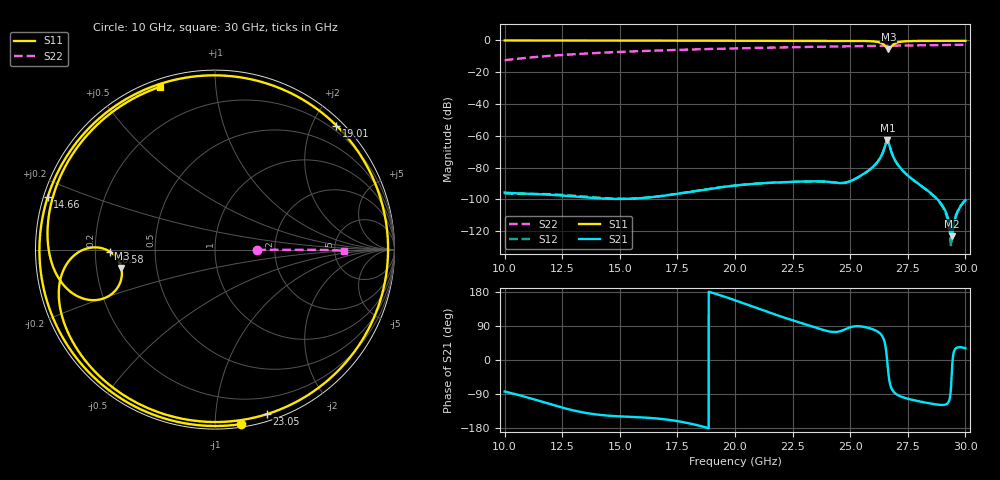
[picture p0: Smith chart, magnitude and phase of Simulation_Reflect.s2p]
! TOUCHSTONE file generated by CST MICROWAVE STUDIO
! Date and time: Wed Oct 17 00:53:23 2018
! Project name: 16 - Reflect.cst
! Parameters = {Copper_W=0.017; Ex=0.6; G=0.15; GCPW_U_1_End=1; GCPW_U_2_End=3.76702; GCPW_U_3_End=6.53404; GCPW_Ucentre=6.53404; GCPW_VCentre=7.5; GCPW_V_1_End=7.5; GCPW_V_2_End=0.347476; GCPW_V_3_End=0.347476; GCPW_Via_R=0.15; GCPW_Via_U=6.23404; GCPW_Via_V=7.2; GCPW_Via_Wmax=0.017; GCPW_Via_Wmin=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
! Header version: 2015
! Port assignment regex: !\s*Touchstone port\s*([0-9]+)\s*=\s*CST MWS port\s*([0-9]+)\s*\(\"(.*)\"\)(\s*mode\s*([0-9]+))?.*
! Touchstone port assignment:
! Touchstone port 1 = CST MWS port 1 ("")
! Touchstone port 2 = CST MWS port 2 ("")
# GHz S RI R 50
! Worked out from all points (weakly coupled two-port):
!   5001 points, 10 GHz to 30 GHz, reference 50 ohm
!   highest |S21| = -62.85 dB at 26.61 GHz (marker M1); lowest = -123.1 dB at 29.4 GHz (marker M2)
!   lowest |S11| = -5.5 dB at 26.66 GHz (marker M3), VSWR 3.27, Z = 15.4 - j4.44 ohm
!   |S11| at or under -10 dB: nowhere
!   |S22| runs from -12.6 to -2.9 dB; largest |S21 - S12| = 1.3e-05
!   S11 on the Smith chart (normalised r, x): 10 GHz: 0.02, -1.16; 14.66 GHz: 0.01, +0.15; 19.01 GHz: 0.11, +2.37; 23.05 GHz: 0.06, -1.36; 26.58 GHz: 0.26, -0.01; 30 GHz: 0.03, +0.72
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10  0.1442 -0.9725  1.91e-06 -1.63e-05  2.48e-06 -1.47e-05  0.2354 -0.000383
11.54  -0.491 -0.8497  -4.63e-06 -1.37e-05  -4.86e-06 -1.41e-05  0.3054 -0.00045
13.336  -0.9434 -0.2618  -8.75e-06 -8.01e-06  -9.48e-06 -8.24e-06  0.374 -0.00055
14.656  -0.9318 0.294  -8.78e-06 -5.58e-06  -9.24e-06 -5.38e-06  0.4179 -0.000646
16.668  -0.3388 0.9119  -1.12e-05 -5.29e-06  -1.12e-05 -5.42e-06  0.4757 -0.000842
17.836  0.1903 0.951  -1.57e-05 -4.21e-06  -1.6e-05 -4.39e-06  0.5057 -0.000991
19.012  0.6767 0.691  -2.2e-05 1.03e-06  -2.22e-05 1.13e-06  0.533 -0.00118
20  0.923 0.2827  -2.52e-05 1.04e-05  -2.52e-05 1.04e-05  0.5541 -0.00137
21.416  0.876 -0.4003  -1.97e-05 2.64e-05  -1.99e-05 2.61e-05  0.5832 -0.0017
23.052  0.2905 -0.9164  -2.61e-06 3.66e-05  -2.84e-06 3.65e-05  0.6133 -0.00219
23.336  0.1565 -0.9482  9.21e-07 3.7e-05  6.62e-07 3.68e-05  0.6183 -0.00229
24.64  -0.4518 -0.8448  7.04e-06 3.17e-05  6.39e-06 3.23e-05  0.6405 -0.00281
25.928  -0.8581 -0.3485  1.32e-05 9.52e-05  1.09e-05 9.49e-05  0.6612 -0.00344
26.58  -0.5825 -0.0133  0.000656 0.000156  0.000666 0.000165  0.6711 -0.0038
26.612  -0.5503 -0.0428  0.000715 -8.94e-05  0.000725 -8.87e-05  0.6716 -0.00382
26.66  -0.5216 -0.1032  0.000504 -0.000379  0.000506 -0.000381  0.6723 -0.00385
26.668  -0.5198 -0.1144  0.000456 -0.000397  0.000458 -0.000398  0.6724 -0.00386
26.88  -0.6852 -0.2815  2.45e-05 -0.00021  2.6e-05 -0.00021  0.6756 -0.004
27.204  -0.8883 -0.1281  -1.03e-05 -9.11e-05  -9.93e-06 -9.12e-05  0.6805 -0.00421
28.116  -0.8863 0.3461  -9.02e-06 -2.39e-05  -9.36e-06 -2.35e-05  0.6936 -0.00487
29.404  -0.5358 0.7926  5.31e-07 -4.54e-07  5.15e-07 5.3e-08  0.7116 -0.00601
30  -0.3051 0.907  8.1e-06 4.86e-06  8.16e-06 4.87e-06  0.7196 -0.00663
